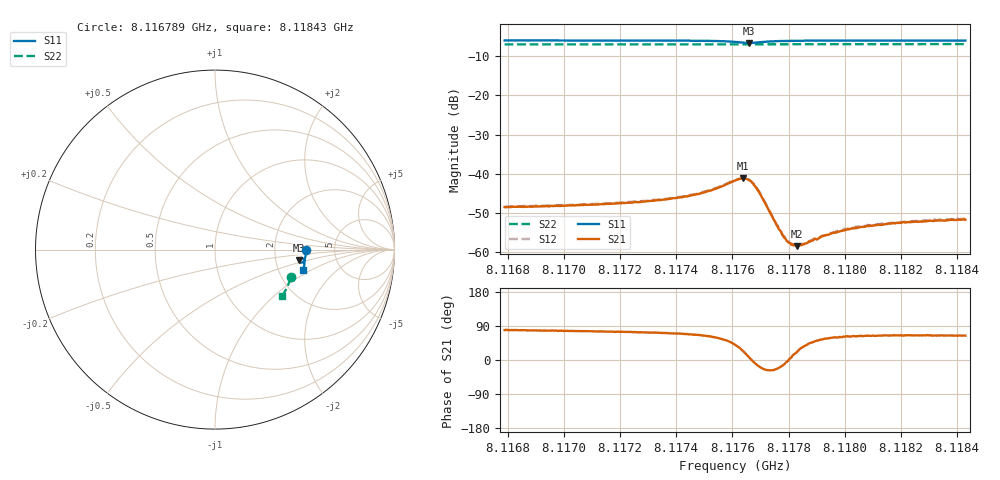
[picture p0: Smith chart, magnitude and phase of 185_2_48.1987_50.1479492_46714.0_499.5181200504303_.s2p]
#  HZ  S  RI  R  50.00
! Rohde & Schwarz Vector Network Analyzer
! Rohde-Schwarz,ZNB20-2Port,1311601062101988,3.16
! Created: UTC 3/20/2024, 11:44:18 AM
! freq[Hz]  re:S11  im:S11  re:S21  im:S21  re:S12  im:S12  re:S22  im:S22
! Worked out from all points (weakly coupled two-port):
!   401 points, 8.116789 GHz to 8.11843 GHz, reference 50 ohm
!   highest |S21| = -41.25 dB at 8.117638 GHz (marker M1); lowest = -58.6 dB at 8.117831 GHz (marker M2)
!   lowest |S11| = -6.5 dB at 8.117659 GHz (marker M3), VSWR 2.78, Z = 136 - j20.6 ohm
!   |S11| at or under -10 dB: nowhere
!   |S22| runs from -6.9 to -6.8 dB; largest |S21 - S12| = 0.00022
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8.1167895e9  0.5065 -0.000921  0.000713 0.00365  0.000743 0.0037  0.4228 -0.1553
8.1170642e9  0.5054 -0.0225  0.00093 0.00387  0.00103 0.00389  0.4166 -0.1735
8.1171667e9  0.5047 -0.0306  0.00107 0.00396  0.00112 0.00398  0.414 -0.1801
8.1173389e9  0.5026 -0.0452  0.00143 0.00433  0.00151 0.00446  0.4094 -0.1913
8.1174742e9  0.499 -0.0588  0.00218 0.005  0.0023 0.00501  0.4055 -0.2001
8.1175357e9  0.4944 -0.0663  0.00314 0.00547  0.00325 0.00555  0.4036 -0.2041
8.1176095e9  0.48 -0.073  0.00619 0.00529  0.00636 0.0053  0.4006 -0.2087
8.1176382e9  0.4705 -0.0679  0.00794 0.00345  0.00808 0.00347  0.3996 -0.21
8.1176587e9  0.4675 -0.059  0.00817 0.00114  0.00834 0.00106  0.399 -0.2109
8.1176751e9  0.4702 -0.0515  0.00729 -0.000618  0.00742 -0.000681  0.3987 -0.2116
8.1176915e9  0.476 -0.0472  0.00587 -0.00161  0.00594 -0.00167  0.3985 -0.2123
8.1177612e9  0.4939 -0.0532  0.00193 -0.000792  0.002 -0.000833  0.3972 -0.2171
8.1177858e9  0.4961 -0.0571  0.00148 -0.000281  0.00154 -0.000273  0.3965 -0.2188
8.1178022e9  0.4969 -0.0595  0.0013 3.74e-05  0.00132 1.16e-05  0.3961 -0.2199
8.1178104e9  0.4974 -0.0607  0.00121 0.000148  0.00126 0.000156  0.3958 -0.2202
8.1178309e9  0.4981 -0.0634  0.00109 0.000444  0.0011 0.000431  0.3953 -0.2217
8.1178515e9  0.4984 -0.0661  0.00102 0.000695  0.00105 0.000694  0.3946 -0.223
8.1178843e9  0.4986 -0.0698  0.00096 0.000994  0.000966 0.00101  0.3936 -0.2251
8.1179253e9  0.4986 -0.0741  0.000906 0.00132  0.000894 0.00135  0.3922 -0.2277
8.1180196e9  0.4977 -0.083  0.000931 0.00172  0.000918 0.00176  0.389 -0.2337
8.118159e9  0.4959 -0.0946  0.000964 0.00207  0.000998 0.00211  0.3844 -0.2423
8.1184296e9  0.4915 -0.1154  0.00111 0.00231  0.00118 0.00238  0.3746 -0.2585
